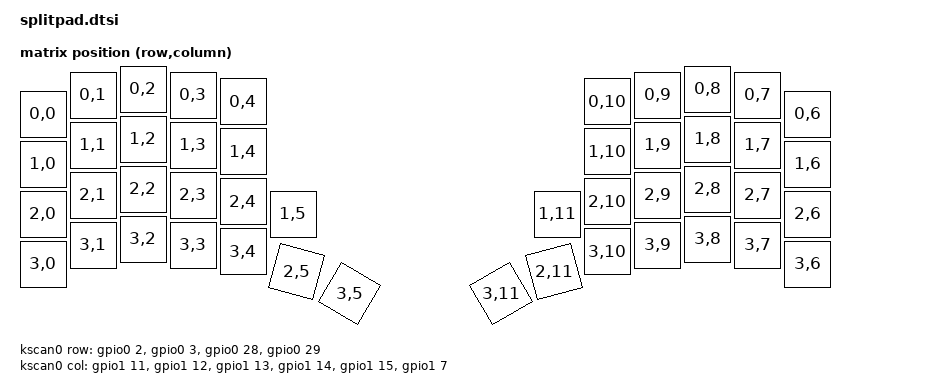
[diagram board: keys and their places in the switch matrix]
/*
 * SplitPad: wireless split, 23 keys per hand (Choc v2), Azoteq TPS43 trackpad on each half.
 * MCU: Seeed XIAO nRF52840 Plus (built with the seeeduino_xiao_ble board).
 * Both halves use the same schematic, so pins are identical. The right XIAO is
 * mounted rotated 270 deg, which does not change the electrical assignment.
 *
 * Pins (schematic net -> XIAO pin -> nRF52840 GPIO)
 *   Row1 D0  P0.02   Col1 D6  P1.11   SDA    D4  P0.04 (xiao_i2c)
 *   Row2 D1  P0.03   Col2 D7  P1.12   SCL    D5  P0.05 (xiao_i2c)
 *   Row3 D2  P0.28   Col3 D8  P1.13   TP_RDY D18 P1.05 (back pad, "NFC2" in the schematic)
 *   Row4 D3  P0.29   Col4 D9  P1.14   TP_RST tied to 3V3 (no GPIO)
 *                    Col5 D10 P1.15   BAT    on-board divider (board default, P0.31 / P0.14)
 *                    Col6 D19 P1.07 (back pad, "NFC1" in the schematic)
 *
 * Diodes: Col -> switch -> diode anode, cathode -> Row  =>  col2row.
 */

#include <dt-bindings/zmk/matrix_transform.h>
#include <physical_layouts.dtsi>
#include <input/processors.dtsi>

/ {
    chosen {
        zmk,kscan = &kscan0;
        zmk,physical-layout = &physical_layout0;
    };

    kscan0: kscan0 {
        compatible = "zmk,kscan-gpio-matrix";
        wakeup-source;
        diode-direction = "col2row";

        row-gpios
            = <&gpio0 2  (GPIO_ACTIVE_HIGH | GPIO_PULL_DOWN)>  /* Row1 D0 */
            , <&gpio0 3  (GPIO_ACTIVE_HIGH | GPIO_PULL_DOWN)>  /* Row2 D1 */
            , <&gpio0 28 (GPIO_ACTIVE_HIGH | GPIO_PULL_DOWN)>  /* Row3 D2 */
            , <&gpio0 29 (GPIO_ACTIVE_HIGH | GPIO_PULL_DOWN)>  /* Row4 D3 */
            ;
        col-gpios
            = <&gpio1 11 GPIO_ACTIVE_HIGH>  /* Col1 D6  */
            , <&gpio1 12 GPIO_ACTIVE_HIGH>  /* Col2 D7  */
            , <&gpio1 13 GPIO_ACTIVE_HIGH>  /* Col3 D8  */
            , <&gpio1 14 GPIO_ACTIVE_HIGH>  /* Col4 D9  */
            , <&gpio1 15 GPIO_ACTIVE_HIGH>  /* Col5 D10 */
            , <&gpio1 7  GPIO_ACTIVE_HIGH>  /* Col6 D19 (back pad) */
            ;
    };

    /*
     * Matrix: 4 rows x 6 cols per half. The right half is offset by 6 columns.
     * Col1 is the outer (pinky) column on both halves.
     *   SW1-4 Col1, SW5-8 Col2, SW9-12 Col3, SW13-16 Col4, SW17-20 Col5 (Row1..Row4)
     *   SW21 Col6/Row2 (inner key at row-3 height), SW22 Col6/Row3 (thumb), SW23 Col6/Row4 (thumb)
     *   Col6/Row1 has no switch.
     */
    default_transform: keymap_transform_0 {
        compatible = "zmk,matrix-transform";
        columns = <12>;
        rows = <4>;
        map = <
RC(0,0) RC(0,1) RC(0,2) RC(0,3) RC(0,4)                  RC(0,10) RC(0,9) RC(0,8) RC(0,7) RC(0,6)
RC(1,0) RC(1,1) RC(1,2) RC(1,3) RC(1,4)                  RC(1,10) RC(1,9) RC(1,8) RC(1,7) RC(1,6)
RC(2,0) RC(2,1) RC(2,2) RC(2,3) RC(2,4) RC(1,5)  RC(1,11) RC(2,10) RC(2,9) RC(2,8) RC(2,7) RC(2,6)
RC(3,0) RC(3,1) RC(3,2) RC(3,3) RC(3,4)                  RC(3,10) RC(3,9) RC(3,8) RC(3,7) RC(3,6)
                                        RC(2,5) RC(3,5)  RC(3,11) RC(2,11)
        >;
    };

    /* Key positions from the KiCad boards (17 mm = 100). Used by ZMK Studio. */
    physical_layout0: physical_layout_0 {
        compatible = "zmk,physical-layout";
        display-name = "Default";
        transform = <&default_transform>;
        kscan = <&kscan0>;
        keys  //                     w   h    x    y     rot   rx   ry
            = <&key_physical_attrs 100 100    0   50       0    0    0>  // L SW1
            , <&key_physical_attrs 100 100  100   12       0    0    0>  // L SW5
            , <&key_physical_attrs 100 100  200    0       0    0    0>  // L SW9
            , <&key_physical_attrs 100 100  300   12       0    0    0>  // L SW13
            , <&key_physical_attrs 100 100  400   25       0    0    0>  // L SW17
            , <&key_physical_attrs 100 100 1129   25       0    0    0>  // R SW17
            , <&key_physical_attrs 100 100 1229   12       0    0    0>  // R SW13
            , <&key_physical_attrs 100 100 1329    0       0    0    0>  // R SW9
            , <&key_physical_attrs 100 100 1429   12       0    0    0>  // R SW5
            , <&key_physical_attrs 100 100 1529   50       0    0    0>  // R SW1
            , <&key_physical_attrs 100 100    0  150       0    0    0>  // L SW2
            , <&key_physical_attrs 100 100  100  112       0    0    0>  // L SW6
            , <&key_physical_attrs 100 100  200  100       0    0    0>  // L SW10
            , <&key_physical_attrs 100 100  300  112       0    0    0>  // L SW14
            , <&key_physical_attrs 100 100  400  125       0    0    0>  // L SW18
            , <&key_physical_attrs 100 100 1129  125       0    0    0>  // R SW18
            , <&key_physical_attrs 100 100 1229  112       0    0    0>  // R SW14
            , <&key_physical_attrs 100 100 1329  100       0    0    0>  // R SW10
            , <&key_physical_attrs 100 100 1429  112       0    0    0>  // R SW6
            , <&key_physical_attrs 100 100 1529  150       0    0    0>  // R SW2
            , <&key_physical_attrs 100 100    0  250       0    0    0>  // L SW3
            , <&key_physical_attrs 100 100  100  212       0    0    0>  // L SW7
            , <&key_physical_attrs 100 100  200  200       0    0    0>  // L SW11
            , <&key_physical_attrs 100 100  300  212       0    0    0>  // L SW15
            , <&key_physical_attrs 100 100  400  225       0    0    0>  // L SW19
            , <&key_physical_attrs 100 100  500  250       0    0    0>  // L SW21 (inner)
            , <&key_physical_attrs 100 100 1029  250       0    0    0>  // R SW21 (inner)
            , <&key_physical_attrs 100 100 1129  225       0    0    0>  // R SW19
            , <&key_physical_attrs 100 100 1229  212       0    0    0>  // R SW15
            , <&key_physical_attrs 100 100 1329  200       0    0    0>  // R SW11
            , <&key_physical_attrs 100 100 1429  212       0    0    0>  // R SW7
            , <&key_physical_attrs 100 100 1529  250       0    0    0>  // R SW3
            , <&key_physical_attrs 100 100    0  350       0    0    0>  // L SW4
            , <&key_physical_attrs 100 100  100  312       0    0    0>  // L SW8
            , <&key_physical_attrs 100 100  200  300       0    0    0>  // L SW12
            , <&key_physical_attrs 100 100  300  312       0    0    0>  // L SW16
            , <&key_physical_attrs 100 100  400  325       0    0    0>  // L SW20
            , <&key_physical_attrs 100 100 1129  325       0    0    0>  // R SW20
            , <&key_physical_attrs 100 100 1229  312       0    0    0>  // R SW16
            , <&key_physical_attrs 100 100 1329  300       0    0    0>  // R SW12
            , <&key_physical_attrs 100 100 1429  312       0    0    0>  // R SW8
            , <&key_physical_attrs 100 100 1529  350       0    0    0>  // R SW4
            , <&key_physical_attrs 100 100  507  365    1500  557  415>  // L SW22 thumb
            , <&key_physical_attrs 100 100  613  409    3000  663  459>  // L SW23 thumb
            , <&key_physical_attrs 100 100  916  409 (-3000)  966  459>  // R SW23 thumb
            , <&key_physical_attrs 100 100 1022  365 (-1500) 1072  415>  // R SW22 thumb
            ;
    };

    /*
     * Trackpads
     *   right (central):    mouse cursor, read directly (enabled in splitpad_right.overlay)
     *   left  (peripheral): forwarded to the right half over BLE via left_tp_split,
     *                       one-finger movement is turned into scrolling
     */
    split_inputs {
        #address-cells = <1>;
        #size-cells = <0>;

        left_tp_split: left_tp_split@0 {
            compatible = "zmk,input-split";
            reg = <0>;
        };
    };

    left_tp_listener: left_tp_listener {
        compatible = "zmk,input-listener";
        device = <&left_tp_split>;
        input-processors = <&zip_xy_to_scroll_mapper>, <&zip_scroll_scaler 1 16>;
    };

    right_tp_listener: right_tp_listener {
        compatible = "zmk,input-listener";
        status = "disabled";
        device = <&tps43>;
    };
};

&xiao_i2c {
    status = "okay";
    clock-frequency = <I2C_BITRATE_FAST>;

    /* TPS43 (IQS572). The 4.7k pull-ups R1/R2 on the PCB are optional. */
    tps43: iqs5xx@74 {
        compatible = "azoteq,iqs5xx";
        reg = <0x74>;
        status = "okay";
        rdy-gpios = <&gpio1 5 GPIO_ACTIVE_HIGH>;  /* TP_RDY D18 (back pad) */
        /* no reset-gpios: NRST is tied to 3V3 on the PCB */

        one-finger-tap;
        two-finger-tap;
        press-and-hold;
        press-and-hold-time = <250>;
        scroll;

        bottom-beta = <5>;
        stationary-threshold = <5>;

        /* Axis direction: set after the first test (switch-xy / flip-x / flip-y). */
    };
};
